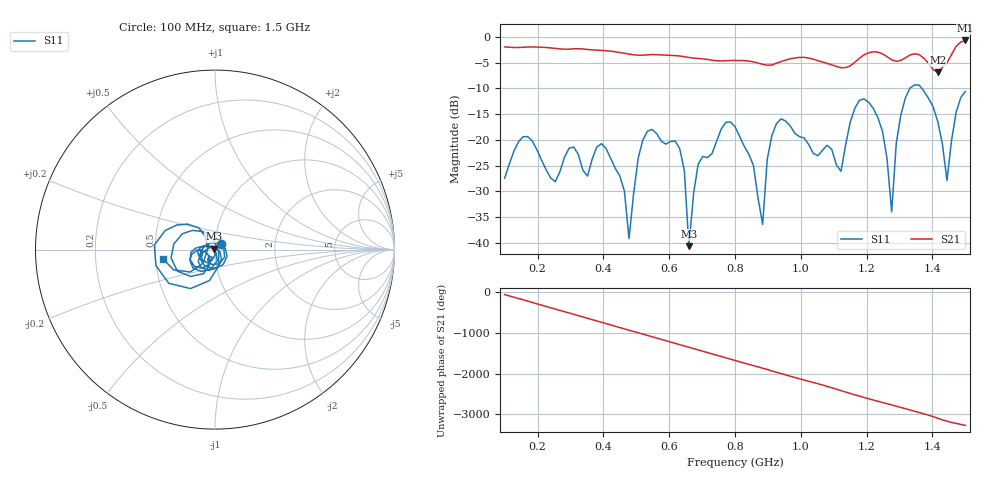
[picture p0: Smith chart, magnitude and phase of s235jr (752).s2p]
! NanoVNA-App
! Date: 2025-09-25 15:10:01
! Start: 100MHz Stop: 1,5GHz Points: 101
! S-Parameter data: F S11 S21 S12 S22
# Hz S RI R 50
!  Frequency  S11_Real  S11_Imag  S21_Real  S21_Imag  S12_Real  S12_Imag  S22_Real  S22_Imag
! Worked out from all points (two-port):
!   101 points, 100 MHz to 1.5 GHz, reference 50 ohm
!   highest |S21| = -0.72 dB at 1.5 GHz (marker M1); lowest = -6.9 dB at 1.416 GHz (marker M2)
!   |S21| within 3 dB of the highest: start of sweep to 629.7 MHz; 1.188 GHz to 1.258 GHz (70.8 MHz wide, 5.79 % of centre) (the widest 2 of 4)
!   lowest |S11| = -40.6 dB at 660 MHz (marker M3), VSWR 1.02, Z = 49.3 + j0.541 ohm
!   |S11| at or under -10 dB: start of sweep to 1.332 GHz; 1.367 GHz to end of sweep
!   S12 and S22 are empty: the file has one direction only
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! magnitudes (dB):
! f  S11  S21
! 100 MHz  -27.5  -2.0
! 156 MHz  -19.4  -2.0
! 338 MHz  -25.9  -2.4
! 408 MHz  -21.6  -2.7
! 478 MHz  -39.2  -3.4
! 520 MHz  -20.0  -3.6
! 576 MHz  -20.2  -3.5
! 632 MHz  -21.7  -3.7
! 660 MHz  -40.6  -4.0
! 688 MHz  -24.7  -4.2
! 800 MHz  -17.4  -4.6
! 884 MHz  -36.4  -5.3
! 926 MHz  -16.9  -5.1
! 1.038 GHz  -22.7  -4.3
! 1.122 GHz  -26.1  -6.0
! 1.206 GHz  -12.7  -3.1
! 1.276 GHz  -34.0  -4.5
! 1.29 GHz  -20.7  -4.8
! 1.332 GHz  -9.9  -3.5
! 1.416 GHz  -16.4  -6.9
! 1.444 GHz  -27.9  -5.1
! 1.5 GHz  -10.6  -0.7
